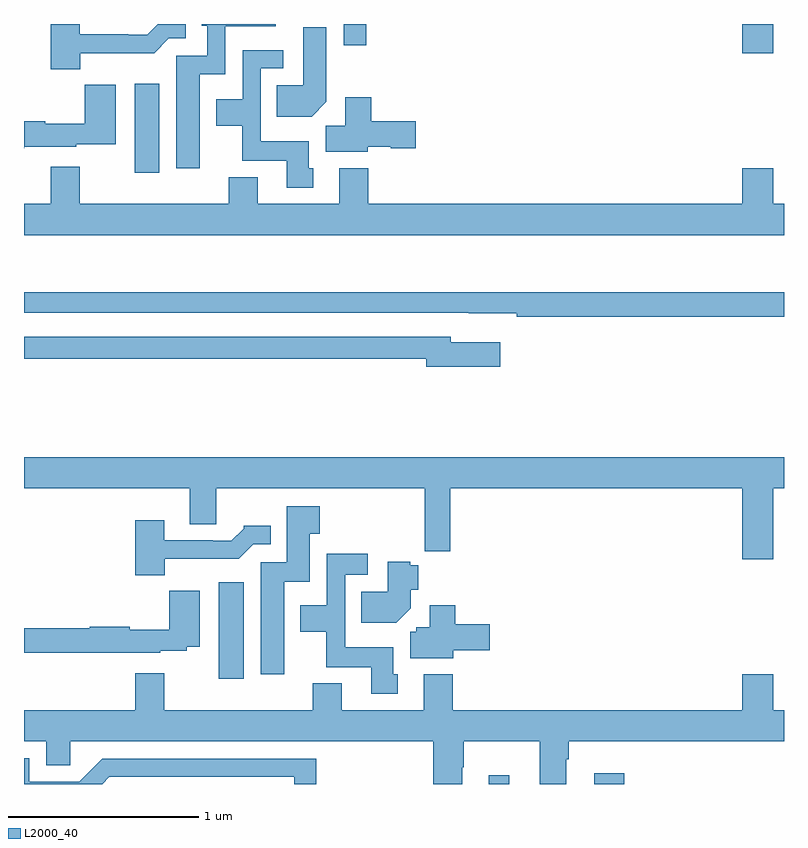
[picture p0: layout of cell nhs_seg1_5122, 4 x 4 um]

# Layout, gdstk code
import gdstk
lib = gdstk.Library(unit=1e-6, precision=1e-09)
def R(c, l, rs):  # rectangles x0, y0, x1, y1
    for r in rs: c.add(gdstk.rectangle(r[:2], r[2:], *l))
def P(c, l, *ps):  # polygons
    for p in ps: c.add(gdstk.Polygon(p, *l))
L2000_40 = (2000, 40)

nhs_seg1_5122 = lib.new_cell('nhs_seg1_5122')
R(nhs_seg1_5122, L2000_40, [(391.445,526.199,391.555,526.246), (392,526.199,392.159,526.255), (390.026,526.752,390.157,527.26), (389.582,529.416,389.713,529.885), (392.78,530.046,392.944,530.199), (390.684,530.088,390.8,530.199)])
P(nhs_seg1_5122, L2000_40, [(389.296,530.046),(389.685,530.046),(389.763,530.124),(389.851,530.124),(389.851,530.199),(389.705,530.199),(389.648,530.142),(389.549,530.142),(389.549,530.145),(389.293,530.145),(389.293,530.199),(389.141,530.199),(389.141,529.961),(389.296,529.961)],
  [(389.926,529.934),(390.06,529.934),(390.06,530.186),(390.325,530.186),(390.325,530.199),(389.936,530.199),(389.936,530.19),(389.964,530.19),(389.964,530.031),(389.801,530.031),(389.801,529.44),(389.926,529.44)],
  [(390.592,529.79),(390.592,530.182),(390.47,530.182),(390.47,529.876),(390.331,529.876),(390.331,529.712),(390.514,529.712)],
  [(390.523,529.44),(390.499,529.44),(390.499,529.582),(390.246,529.582),(390.246,529.965),(390.364,529.965),(390.364,530.061),(390.15,530.061),(390.15,529.804),(390.011,529.804),(390.011,529.664),(390.148,529.664),(390.148,529.478),(390.383,529.478),(390.383,529.338),(390.523,529.338)],
  [(389.002,529.553),(389.274,529.553),(389.274,529.565),(389.482,529.565),(389.482,529.879),(389.32,529.879),(389.32,529.675),(389.112,529.675),(389.112,529.688),(389,529.688),(389,529.546),(389.002,529.546)],
  [(390.81,529.553),(390.93,529.553),(390.93,529.546),(391.063,529.546),(391.063,529.688),(390.827,529.688),(390.827,529.813),(390.692,529.813),(390.692,529.664),(390.587,529.664),(390.587,529.526),(390.81,529.526)],
  [(393,529.252),(392.944,529.252),(392.944,529.441),(392.78,529.441),(392.78,529.252),(390.812,529.252),(390.812,529.441),(390.659,529.441),(390.659,529.252),(390.229,529.252),(390.229,529.393),(390.077,529.393),(390.077,529.252),(389.293,529.252),(389.293,529.447),(389.141,529.447),(389.141,529.252),(389,529.252),(389,529.088),(393,529.088)],
  [(393,528.787),(389,528.787),(389,528.678),(391.342,528.678),(391.342,528.677),(391.594,528.677),(391.594,528.658),(393,528.658)],
  [(391.507,528.523),(391.246,528.523),(391.246,528.552),(389,528.552),(389,528.436),(391.118,528.436),(391.118,528.394),(391.507,528.394)],
  [(392.944,527.756),(393,527.756),(393,527.92),(389,527.92),(389,527.756),(389.873,527.756),(389.873,527.566),(390.013,527.566),(390.013,527.756),(391.108,527.756),(391.108,527.536),(391.109,527.536),(391.109,527.424),(391.244,527.424),(391.244,527.756),(392.78,527.756),(392.78,527.382),(392.944,527.382)],
  [(390.37,527.264),(390.505,527.264),(390.505,527.515),(390.557,527.515),(390.557,527.662),(390.383,527.662),(390.383,527.367),(390.245,527.367),(390.245,526.776),(390.37,526.776)],
  [(389.74,527.384),(390.131,527.384),(390.207,527.46),(390.298,527.46),(390.298,527.557),(390.156,527.557),(390.156,527.542),(390.092,527.478),(389.993,527.478),(389.993,527.481),(389.737,527.481),(389.737,527.587),(389.585,527.587),(389.585,527.297),(389.74,527.297)],
  [(390.967,526.776),(390.943,526.776),(390.943,526.918),(390.69,526.918),(390.69,527.301),(390.808,527.301),(390.808,527.41),(390.594,527.41),(390.594,527.14),(390.455,527.14),(390.455,527),(390.592,527),(390.592,526.814),(390.827,526.814),(390.827,526.674),(390.967,526.674)],
  [(391.036,527.125),(391.036,527.222),(391.075,527.222),(391.075,527.35),(391.032,527.35),(391.032,527.37),(390.914,527.37),(390.914,527.212),(390.775,527.212),(390.775,527.048),(390.959,527.048)],
  [(389.718,526.901),(389.856,526.901),(389.856,526.922),(389.926,526.922),(389.926,527.215),(389.764,527.215),(389.764,527.011),(389.556,527.011),(389.556,527.026),(389.346,527.026),(389.346,527.018),(389,527.018),(389,526.89),(389.446,526.89),(389.446,526.889),(389.718,526.889)],
  [(391.258,526.904),(391.45,526.904),(391.45,527.039),(391.271,527.039),(391.271,527.14),(391.136,527.14),(391.136,527.025),(391.065,527.025),(391.065,527),(391.032,527),(391.032,526.862),(391.258,526.862)],
  [(391.154,526.199),(391.306,526.199),(391.306,526.286),(391.314,526.286),(391.314,526.424),(391.715,526.424),(391.715,526.199),(391.855,526.199),(391.855,526.328),(391.868,526.328),(391.868,526.424),(393,526.424),(393,526.588),(392.944,526.588),(392.944,526.777),(392.78,526.777),(392.78,526.588),(391.256,526.588),(391.256,526.777),(391.103,526.777),(391.103,526.588),(390.673,526.588),(390.673,526.729),(390.521,526.729),(390.521,526.588),(389.737,526.588),(389.737,526.783),(389.585,526.783),(389.585,526.588),(389,526.588),(389,526.424),(389.117,526.424),(389.117,526.297),(389.244,526.297),(389.244,526.424),(391.154,526.424)],
  [(389.448,526.236),(390.423,526.236),(390.423,526.199),(390.539,526.199),(390.539,526.332),(389.412,526.332),(389.292,526.212),(389.028,526.212),(389.028,526.335),(389,526.335),(389,526.199),(389.411,526.199)])

lib.write_gds('nhs_seg1_5122.gds')
